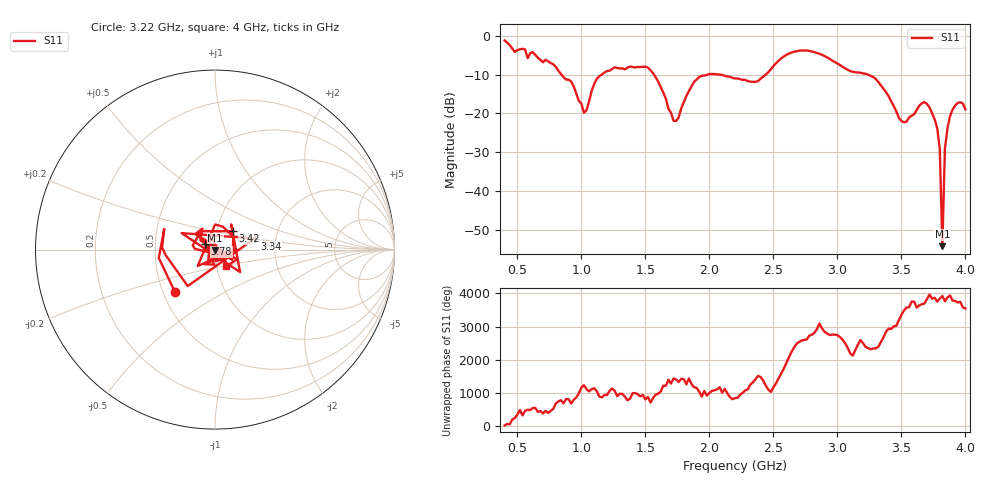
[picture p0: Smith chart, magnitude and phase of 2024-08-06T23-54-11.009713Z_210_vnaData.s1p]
!Created with skrf (http://scikit-rf.org).
# Hz S RI R 50.0
!freq ReS11 ImS11
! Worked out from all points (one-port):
!   181 points, 400 MHz to 4 GHz, reference 50 ohm
!   lowest |S11| = -54.2 dB at 3.82 GHz (marker M1), VSWR 1.00, Z = 50.1 - j0.135 ohm
!   |S11| at or under -10 dB: 1.567 GHz to 1.987 GHz (419.9 MHz wide, 23.6 % of centre); 2.086 GHz to 2.44 GHz (353.8 MHz wide, 15.6 % of centre); 3.241 GHz to end of sweep (the widest 3 of 4)
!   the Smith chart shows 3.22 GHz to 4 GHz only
!   S11 on the Smith chart (normalised r, x): 3.22 GHz: 0.58, -0.30; 3.34 GHz: 1.55, +0.20; 3.42 GHz: 1.19, +0.25; 3.78 GHz: 0.89, +0.06; 4 GHz: 1.11, -0.21
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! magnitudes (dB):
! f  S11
! 400 MHz  -1.2
! 860 MHz  -10.6
! 920 MHz  -11.8
! 1.02 GHz  -19.8
! 1.12 GHz  -11.1
! 1.3 GHz  -8.4
! 1.52 GHz  -8.2
! 1.6 GHz  -11.8
! 1.72 GHz  -21.9
! 1.76 GHz  -21.0
! 1.92 GHz  -10.6
! 2.2 GHz  -11.0
! 2.38 GHz  -11.7
! 2.66 GHz  -4.1
! 3.1 GHz  -9.1
! 3.22 GHz  -9.8
! 3.34 GHz  -12.8
! 3.42 GHz  -16.9
! 3.5 GHz  -21.9
! 3.56 GHz  -21.1
! 3.68 GHz  -17.1
! 3.78 GHz  -23.8
! 3.8 GHz  -29.2
! 3.82 GHz  -54.2
! 3.84 GHz  -29.1
! 3.86 GHz  -23.8
! 3.92 GHz  -18.0
! 4 GHz  -18.9
